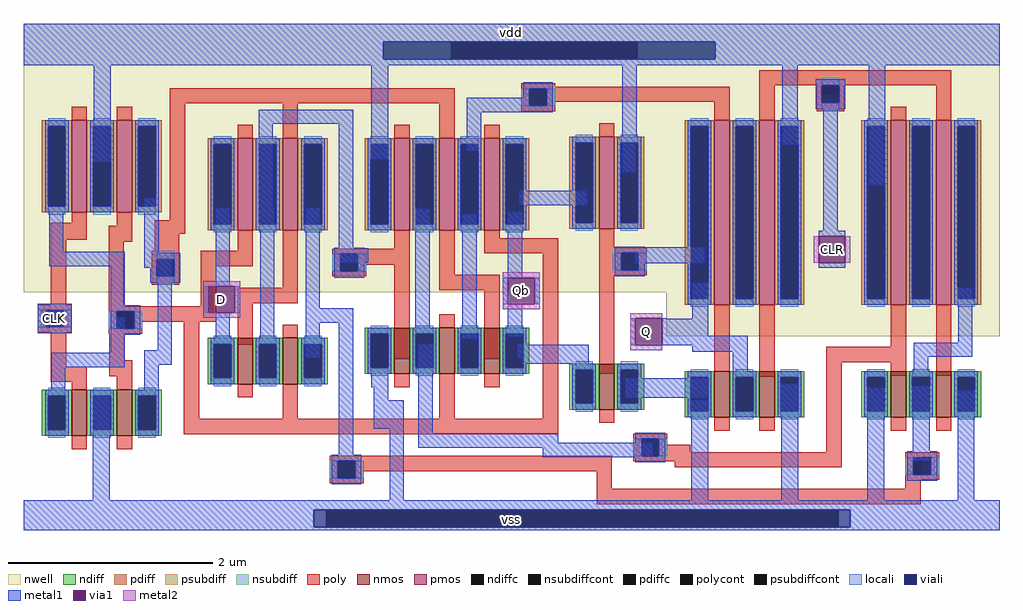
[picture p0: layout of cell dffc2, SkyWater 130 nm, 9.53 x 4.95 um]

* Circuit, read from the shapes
.subckt dffc2 CLK CLR D Q Qb vdd vss
XM1 vss CLK n1 vss sky130_fd_pr__nfet_01v8 w=0.45 l=0.15
XM2 n2 n1 vss vss sky130_fd_pr__nfet_01v8 w=0.45 l=0.15
XM3 n3 n2 D vss sky130_fd_pr__nfet_01v8 w=0.45 l=0.15
XM4 n4 n1 n3 vss sky130_fd_pr__nfet_01v8 w=0.45 l=0.15
XM5 n5 n3 vss vss sky130_fd_pr__nfet_01v8 w=0.45 l=0.15
XM6 n6 n1 n5 vss sky130_fd_pr__nfet_01v8 w=0.45 l=0.15
XM7 Qb n2 n6 vss sky130_fd_pr__nfet_01v8 w=0.45 l=0.15
XM8 vss Q Qb vss sky130_fd_pr__nfet_01v8 w=0.45 l=0.15
XM9 Q n6 vss vss sky130_fd_pr__nfet_01v8 w=0.45 l=0.15
XM10 vss CLR Q vss sky130_fd_pr__nfet_01v8 w=0.45 l=0.15
XM11 n4 n5 vss vss sky130_fd_pr__nfet_01v8 w=0.45 l=0.15
XM12 vss CLR n4 vss sky130_fd_pr__nfet_01v8 w=0.45 l=0.15
XM13 vdd CLK n1 vdd sky130_fd_pr__pfet_01v8 w=0.9 l=0.15
XM14 n2 n1 vdd vdd sky130_fd_pr__pfet_01v8 w=0.9 l=0.15
XM15 n3 n1 D vdd sky130_fd_pr__pfet_01v8 w=0.9 l=0.15
XM16 n4 n2 n3 vdd sky130_fd_pr__pfet_01v8 w=0.9 l=0.15
XM17 n5 n3 vdd vdd sky130_fd_pr__pfet_01v8 w=0.9 l=0.15
XM18 n6 n2 n5 vdd sky130_fd_pr__pfet_01v8 w=0.9 l=0.15
XM19 Qb n1 n6 vdd sky130_fd_pr__pfet_01v8 w=0.9 l=0.15
XM20 vdd Q Qb vdd sky130_fd_pr__pfet_01v8 w=0.9 l=0.15
XM21 n7 n6 Q vdd sky130_fd_pr__pfet_01v8 w=1.8 l=0.15
XM22 vdd CLR n7 vdd sky130_fd_pr__pfet_01v8 w=1.8 l=0.15
XM23 n8 n5 vdd vdd sky130_fd_pr__pfet_01v8 w=1.8 l=0.15
XM24 n4 CLR n8 vdd sky130_fd_pr__pfet_01v8 w=1.8 l=0.15
.ends

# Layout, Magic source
magic
tech sky130A
magscale 1 2
<< nwell >>
rect -1024 198 882 565
rect -1024 179 -817 198
rect -814 196 882 198
rect -1024 170 -858 179
rect -839 170 -817 179
rect -1024 168 -816 170
rect -811 168 882 196
rect -1024 40 882 168
rect 535 -46 882 40
<< psubdiff >>
rect -457 -419 -433 -385
rect 567 -419 591 -385
<< nsubdiff >>
rect -321 495 -189 529
rect 175 495 327 529
<< psubdiffcont >>
rect -433 -419 567 -385
<< nsubdiffcont >>
rect -189 495 175 529
<< poly >>
rect 413 444 788 474
rect -738 409 -182 439
rect 14 412 355 442
rect -738 181 -708 409
rect -518 367 -488 409
rect -212 367 -182 409
rect 325 402 355 412
rect 413 402 443 444
rect 525 426 579 444
rect 758 402 788 444
rect -971 143 -900 176
rect -971 -105 -941 143
rect -858 139 -812 170
rect -768 154 -708 181
rect -858 11 -828 139
rect -768 117 -720 154
rect -94 135 20 146
rect -606 121 -576 135
rect -768 116 -738 117
rect -678 91 -576 121
rect -678 13 -648 91
rect -518 49 -488 135
rect -300 125 -270 135
rect -357 102 -270 125
rect -355 94 -270 102
rect -846 -30 -828 11
rect -824 -30 -812 13
rect -796 -17 -648 13
rect -606 19 -488 49
rect -838 -31 -834 -30
rect -822 -31 -812 -30
rect -857 -41 -843 -31
rect -839 -41 -827 -31
rect -857 -93 -827 -41
rect -971 -135 -900 -105
rect -857 -124 -812 -93
rect -827 -126 -812 -124
rect -930 -137 -900 -135
rect -711 -207 -681 -17
rect -606 -62 -576 19
rect -300 -91 -270 94
rect -212 74 -182 135
rect -124 116 20 135
rect -212 44 -94 74
rect -124 -91 -94 44
rect -518 -207 -488 -165
rect -212 -207 -182 -145
rect -10 -207 20 116
rect 100 -119 130 138
rect 325 -113 355 -10
rect 413 -125 443 -10
rect 670 -66 700 -10
rect 544 -96 700 -66
rect -711 -237 20 -207
rect 232 -272 278 -258
rect 544 -272 574 -96
rect 670 -123 700 -96
rect 758 -123 788 -10
rect -364 -309 125 -279
rect 232 -290 574 -272
rect 248 -302 574 -290
rect 95 -344 125 -309
rect 698 -324 729 -272
rect 698 -326 732 -324
rect 698 -344 728 -326
rect 95 -374 728 -344
<< viali >>
rect -321 495 -189 529
rect -189 495 175 529
rect 175 495 327 529
rect -457 -419 -433 -385
rect -433 -419 567 -385
rect 567 -419 591 -385
<< metal1 >>
rect -1024 529 882 565
rect -1024 495 -321 529
rect 327 495 882 529
rect -1024 484 882 495
rect -887 295 -854 484
rect -565 369 -380 397
rect -974 119 -946 196
rect -974 91 -826 119
rect -996 -40 -930 18
rect -854 15 -826 91
rect -788 116 -760 224
rect -565 205 -537 369
rect -788 88 -734 116
rect -854 -78 -826 -9
rect -762 -73 -734 88
rect -649 52 -621 205
rect -565 169 -534 205
rect -673 0 -663 52
rect -611 0 -601 52
rect -649 -59 -621 0
rect -562 -59 -534 169
rect -473 9 -445 205
rect -408 126 -380 369
rect -345 300 -312 484
rect -158 408 -48 420
rect -158 392 -34 408
rect -158 317 -130 392
rect 145 344 174 484
rect 145 275 172 344
rect 458 328 488 484
rect -56 210 77 238
rect -408 98 -351 126
rect -473 -19 -380 9
rect -970 -106 -826 -78
rect -788 -101 -734 -73
rect -473 -88 -445 -19
rect -970 -150 -942 -106
rect -788 -150 -760 -101
rect -889 -366 -856 -162
rect -408 -283 -380 -19
rect -259 -41 -231 203
rect -167 -51 -139 193
rect -78 69 -50 197
rect 538 160 566 404
rect 627 249 659 484
rect 529 150 581 160
rect 171 97 306 128
rect 529 88 581 98
rect -88 17 -78 69
rect -26 17 -16 69
rect -78 -47 -50 17
rect -340 -118 -312 -109
rect -345 -145 -312 -118
rect -340 -171 -312 -145
rect -340 -226 -281 -171
rect -309 -366 -281 -226
rect -253 -235 -225 -60
rect -60 -62 -36 -60
rect -60 -88 80 -62
rect 161 -63 171 -11
rect 223 -12 230 -11
rect 282 -12 313 59
rect 223 -45 313 -12
rect 223 -63 390 -45
rect 801 -58 829 49
rect 282 -76 390 -63
rect -51 -99 80 -88
rect 361 -114 390 -76
rect 715 -86 829 -58
rect 715 -116 743 -86
rect 151 -166 313 -128
rect -253 -254 20 -235
rect -253 -263 205 -254
rect -10 -282 205 -263
rect 280 -366 313 -171
rect 456 -366 489 -138
rect 624 -366 657 -146
rect 713 -289 746 -143
rect 800 -366 833 -152
rect -1024 -385 882 -366
rect -1024 -419 -457 -385
rect 591 -419 882 -385
rect -1024 -425 882 -419
<< via1 >>
rect -663 0 -611 52
rect 529 98 581 150
rect -78 17 -26 69
rect 171 -63 223 -11
<< metal2 >>
rect 519 98 529 150
rect 581 98 591 150
rect -88 69 -16 79
rect -673 52 -601 62
rect -673 0 -663 52
rect -611 0 -601 52
rect -88 17 -78 69
rect -26 17 -16 69
rect -88 7 -16 17
rect -673 -10 -601 0
rect 161 -11 223 -1
rect 161 -63 171 -11
rect 161 -73 223 -63
use sky130_fd_pr__nfet_01v8_J836M4  sky130_fd_pr__nfet_01v8_J836M4_5
transform 1 0 -827 0 1 -195
box -73 -71 73 71
use sky130_fd_pr__nfet_01v8_J836M4  sky130_fd_pr__nfet_01v8_J836M4_4
transform 1 0 -915 0 1 -195
box -73 -71 73 71
use sky130_fd_pr__pfet_01v8_5AYHFE  sky130_fd_pr__pfet_01v8_5AYHFE_0
transform 1 0 -915 0 1 286
box -109 -152 109 152
use sky130_fd_pr__pfet_01v8_5AYHFE  sky130_fd_pr__pfet_01v8_5AYHFE_1
transform 1 0 -827 0 1 286
box -109 -152 109 152
use contacto  contacto_0
transform 1 0 -996 0 1 -44
box 0 4 66 62
use contacto  contacto_1
transform 1 0 -858 0 1 -47
box 0 4 66 62
use sky130_fd_pr__nfet_01v8_J836M4  sky130_fd_pr__nfet_01v8_J836M4_6
transform 1 0 -591 0 1 -94
box -73 -71 73 71
use sky130_fd_pr__pfet_01v8_5AYHFE  sky130_fd_pr__pfet_01v8_5AYHFE_3
transform 1 0 -591 0 1 251
box -109 -152 109 152
use sky130_fd_pr__pfet_01v8_5AYHFE  sky130_fd_pr__pfet_01v8_5AYHFE_2
transform 1 0 -503 0 1 251
box -109 -152 109 152
use contacto  contacto_2
transform 0 -1 -714 1 0 55
box 0 4 66 62
use sky130_fd_pr__nfet_01v8_J836M4  sky130_fd_pr__nfet_01v8_J836M4_7
transform 1 0 -503 0 1 -94
box -73 -71 73 71
use sky130_fd_pr__pfet_01v8_5AYHFE  sky130_fd_pr__pfet_01v8_5AYHFE_6
transform 1 0 -285 0 1 251
box -109 -152 109 152
use contacto  contacto_3
transform 1 0 -421 0 1 65
box 0 4 66 62
use contacto  contacto_9
transform -1 0 -360 0 -1 -273
box 0 4 66 62
use sky130_fd_pr__nfet_01v8_J836M4  sky130_fd_pr__nfet_01v8_J836M4_8
transform 1 0 -285 0 1 -74
box -73 -71 73 71
use sky130_fd_pr__nfet_01v8_J836M4  sky130_fd_pr__nfet_01v8_J836M4_11
transform 1 0 -109 0 1 -74
box -73 -71 73 71
use sky130_fd_pr__nfet_01v8_J836M4  sky130_fd_pr__nfet_01v8_J836M4_9
transform 1 0 -197 0 1 -74
box -73 -71 73 71
use sky130_fd_pr__pfet_01v8_5AYHFE  sky130_fd_pr__pfet_01v8_5AYHFE_5
transform 1 0 -197 0 1 251
box -109 -152 109 152
use sky130_fd_pr__pfet_01v8_5AYHFE  sky130_fd_pr__pfet_01v8_5AYHFE_4
transform 1 0 -109 0 1 251
box -109 -152 109 152
use sky130_fd_pr__nfet_01v8_J836M4  sky130_fd_pr__nfet_01v8_J836M4_10
transform 1 0 115 0 1 -144
box -73 -71 73 71
use sky130_fd_pr__pfet_01v8_5AYHFE  sky130_fd_pr__pfet_01v8_5AYHFE_7
transform 1 0 115 0 1 254
box -109 -152 109 152
use contacto  contacto_4
transform 1 0 -52 0 1 388
box 0 4 66 62
use sky130_fd_pr__nfet_01v8_J836M4  sky130_fd_pr__nfet_01v8_J836M4_0
transform 1 0 340 0 1 -159
box -73 -71 73 71
use sky130_fd_pr__pfet_01v8_5CNMEE  sky130_fd_pr__pfet_01v8_5CNMEE_0
transform 1 0 340 0 1 196
box -109 -242 109 242
use contacto  contacto_8
transform -1 0 233 0 -1 -230
box 0 4 66 62
use contacto  contacto_5
transform 1 0 127 0 1 67
box 0 4 66 62
use sky130_fd_pr__nfet_01v8_J836M4  sky130_fd_pr__nfet_01v8_J836M4_1
transform 1 0 428 0 1 -159
box -73 -71 73 71
use sky130_fd_pr__pfet_01v8_5CNMEE  sky130_fd_pr__pfet_01v8_5CNMEE_1
transform 1 0 428 0 1 196
box -109 -242 109 242
use sky130_fd_pr__nfet_01v8_J836M4  sky130_fd_pr__nfet_01v8_J836M4_2
transform 1 0 773 0 1 -159
box -73 -71 73 71
use sky130_fd_pr__nfet_01v8_J836M4  sky130_fd_pr__nfet_01v8_J836M4_3
transform 1 0 685 0 1 -159
box -73 -71 73 71
use sky130_fd_pr__pfet_01v8_5CNMEE  sky130_fd_pr__pfet_01v8_5CNMEE_3
transform 1 0 685 0 1 196
box -109 -242 109 242
use sky130_fd_pr__pfet_01v8_5CNMEE  sky130_fd_pr__pfet_01v8_5CNMEE_2
transform 1 0 773 0 1 196
box -109 -242 109 242
use contacto  contacto_6
transform 0 -1 585 1 0 394
box 0 4 66 62
use contacto  contacto_7
transform 1 0 698 0 1 -332
box 0 4 66 62
<< labels >>
rlabel metal1 -1024 529 882 565 1 vdd
rlabel metal1 -1024 -425 882 -384 1 vss
rlabel metal2 -673 -10 -601 62 1 D
rlabel metal2 161 -73 223 -1 1 Q
rlabel metal2 -88 7 -16 79 1 Qb
rlabel metal2 519 98 591 150 1 CLR
rlabel metal1 -996 -40 -930 18 1 CLK
<< end >>

# cell sky130_fd_pr__nfet_01v8_J836M4: kit device sky130_fd_pr__nfet_01v8, w 0.45 l 0.150 m 1 nf 1 diffcov 100 polycov 100 guard 0 glc 0 grc 0 gtc 0 gbc 0 tbcov 100 rlcov 100 topc 0 botc 0 poverlap 0 doverlap 1 lmin 0.15 wmin 0.42 compatible {sky130_fd_pr__nfet_01v8 sky130_fd_pr__nfet_01v8_lvt sky130_fd_bs_flash__special_sonosfet_star sky130_fd_pr__nfet_g5v0d10v5 sky130_fd_pr__nfet_05v0_nvt} full_metal 0 viasrc 100 viadrn 100 viagate 100 viagb 0 viagr 0 viagl 0 viagt 0

# cell sky130_fd_pr__pfet_01v8_5AYHFE: kit device sky130_fd_pr__pfet_01v8, w 0.9 l 0.15 m 1 nf 1 diffcov 100 polycov 100 guard 0 glc 0 grc 0 gtc 0 gbc 0 tbcov 100 rlcov 100 topc 0 botc 0 poverlap 0 doverlap 1 lmin 0.15 wmin 0.42 compatible {sky130_fd_pr__pfet_01v8 sky130_fd_pr__pfet_01v8_lvt sky130_fd_pr__pfet_01v8_hvt sky130_fd_pr__pfet_g5v0d10v5} full_metal 0 viasrc 100 viadrn 100 viagate 100 viagb 0 viagr 0 viagl 0 viagt 0

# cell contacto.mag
magic
tech sky130A
<< poly >>
rect 0 25 33 30
rect 0 8 8 25
rect 25 8 33 25
rect 0 3 33 8
<< polycont >>
rect 8 8 25 25
<< locali >>
rect 0 8 8 25
rect 25 8 33 25
<< viali >>
rect 8 8 25 25
<< metal1 >>
rect 2 25 31 31
rect 2 8 8 25
rect 25 8 31 25
rect 2 2 31 8
<< end >>

# cell sky130_fd_pr__pfet_01v8_5CNMEE: kit device sky130_fd_pr__pfet_01v8, w 1.8 l 0.15 m 1 nf 1 diffcov 100 polycov 100 guard 0 glc 0 grc 0 gtc 0 gbc 0 tbcov 100 rlcov 100 topc 0 botc 0 poverlap 0 doverlap 1 lmin 0.15 wmin 0.42 compatible {sky130_fd_pr__pfet_01v8 sky130_fd_pr__pfet_01v8_lvt sky130_fd_pr__pfet_01v8_hvt sky130_fd_pr__pfet_g5v0d10v5} full_metal 0 viasrc 100 viadrn 100 viagate 100 viagb 0 viagr 0 viagl 0 viagt 0
